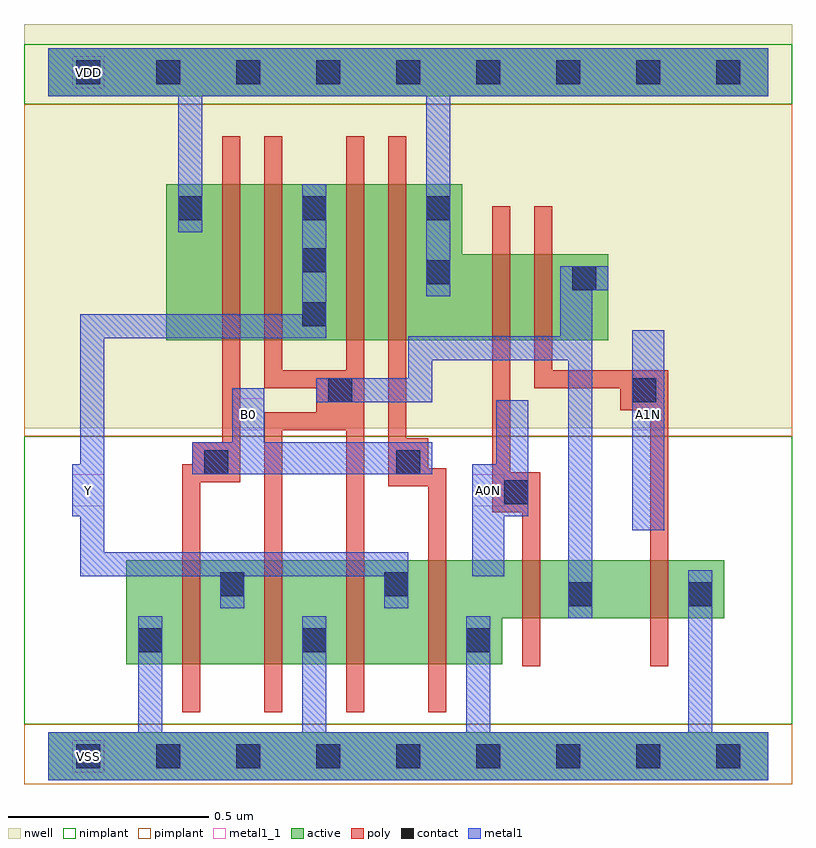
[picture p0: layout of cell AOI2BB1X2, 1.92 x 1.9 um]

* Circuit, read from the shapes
.subckt AOI2BB1X2 A0N A1N B0 VDD VSS Y
M1 Y B0 VSS VSS nfet w=0.26u l=0.045u m=2
M2 VSS n1 Y VSS nfet w=0.26u l=0.045u m=2
M3 n1 A0N VSS VSS nfet w=0.145u l=0.045u
M4 VSS A1N n1 VSS nfet w=0.145u l=0.045u
M5 n2 B0 VDD VDD pfet w=0.39u l=0.045u
M6 Y n1 n2 VDD pfet w=0.39u l=0.045u
M7 n3 n1 Y VDD pfet w=0.39u l=0.045u
M8 VDD B0 n3 VDD pfet w=0.39u l=0.045u
M9 n4 A0N VDD VDD pfet w=0.215u l=0.045u
M10 n1 A1N n4 VDD pfet w=0.215u l=0.045u
.ends

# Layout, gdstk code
import gdstk
lib = gdstk.Library(unit=1e-6, precision=5e-10)
def R(c, l, rs):  # rectangles x0, y0, x1, y1
    for r in rs: c.add(gdstk.rectangle(r[:2], r[2:], *l))
def A(c, l, x, y, w, h, nx, ny, dx, dy):  # array of equal rectangles
    R(c, l, [(x+i*dx, y+j*dy, x+i*dx+w, y+j*dy+h) for i in range(nx) for j in range(ny)])
def P(c, l, *ps):  # polygons
    for p in ps: c.add(gdstk.Polygon(p, *l))
active = (1, 0)
nwell = (2, 0)
poly = (3, 0)
nimplant = (4, 0)
pimplant = (5, 0)
contact = (6, 0)
metal1 = (7, 0)
metal1_1 = (7, 1)

aoi2bb1x2 = lib.new_cell('AOI2BB1X2')
R(aoi2bb1x2, active, [(0,-0.06,1.8,0.06), (0,1.65,1.8,1.77)])
P(aoi2bb1x2, active, [(0.295,1.43),(1.035,1.43),(1.035,1.255),(1.4,1.255),(1.4,1.04),(0.295,1.04)],
  [(0.195,0.49),(1.69,0.49),(1.69,0.345),(1.135,0.345),(1.135,0.23),(0.195,0.23)])
R(aoi2bb1x2, nwell, [(-0.06,0.82,1.86,1.83)])
P(aoi2bb1x2, poly, [(0.435,1.55),(0.48,1.55),(0.48,0.685),(0.38,0.685),(0.38,0.11),(0.335,0.11),(0.335,0.73),(0.36,0.73),(0.36,0.785),(0.435,0.785)],
  [(0.54,1.55),(0.585,1.55),(0.585,0.965),(0.745,0.965),(0.745,1.55),(0.79,1.55),(0.79,0.11),(0.745,0.11),(0.745,0.815),(0.585,0.815),(0.585,0.11),(0.54,0.11),(0.54,0.86),(0.67,0.86),(0.67,0.92),(0.54,0.92)],
  [(0.85,1.55),(0.895,1.55),(0.895,0.795),(0.95,0.795),(0.95,0.72),(0.995,0.72),(0.995,0.11),(0.95,0.11),(0.95,0.675),(0.85,0.675)],
  [(1.11,1.375),(1.155,1.375),(1.155,0.71),(1.23,0.71),(1.23,0.225),(1.185,0.225),(1.185,0.61),(1.11,0.61)],
  [(1.215,1.375),(1.26,1.375),(1.26,0.965),(1.55,0.965),(1.55,0.225),(1.505,0.225),(1.505,0.865),(1.43,0.865),(1.43,0.92),(1.215,0.92)])
R(aoi2bb1x2, nimplant, [(-0.06,0.08,1.86,0.8), (-0.06,1.63,1.86,1.78)])
R(aoi2bb1x2, pimplant, [(-0.06,-0.07,1.86,0.08), (-0.06,0.8,1.86,1.63)])
A(aoi2bb1x2, contact, 0.07, -0.03, 0.06, 0.06, 9, 2, 0.2, 1.71)
A(aoi2bb1x2, contact, 0.225, 0.26, 0.06, 0.06, 3, 1, 0.41, 0)
A(aoi2bb1x2, contact, 0.325, 1.34, 0.06, 0.06, 3, 1, 0.31, 0)
R(aoi2bb1x2, contact, [(1.3,0.375,1.36,0.435), (1.6,0.375,1.66,0.435), (0.43,0.4,0.49,0.46), (0.84,0.4,0.9,0.46), (1.14,0.63,1.2,0.69), (0.39,0.705,0.45,0.765), (0.87,0.705,0.93,0.765), (0.7,0.885,0.76,0.945), (1.46,0.885,1.52,0.945), (0.635,1.075,0.695,1.135), (1.31,1.165,1.37,1.225), (0.945,1.18,1.005,1.24), (0.635,1.21,0.695,1.27)])
R(aoi2bb1x2, metal1, [(1.46,0.565,1.54,1.065)])
P(aoi2bb1x2, metal1, [(0,1.77),(1.8,1.77),(1.8,1.65),(1.005,1.65),(1.005,1.15),(0.945,1.15),(0.945,1.65),(0.385,1.65),(0.385,1.31),(0.325,1.31),(0.325,1.65),(0,1.65)],
  [(0.635,1.43),(0.695,1.43),(0.695,1.045),(0.14,1.045),(0.14,0.51),(0.9,0.51),(0.9,0.37),(0.84,0.37),(0.84,0.45),(0.49,0.45),(0.49,0.37),(0.43,0.37),(0.43,0.45),(0.08,0.45),(0.08,0.6),(0.06,0.6),(0.06,0.73),(0.08,0.73),(0.08,1.105),(0.635,1.105)],
  [(1.28,1.225),(1.4,1.225),(1.4,1.165),(1.36,1.165),(1.36,0.345),(1.3,0.345),(1.3,0.99),(0.96,0.99),(0.96,0.885),(0.67,0.885),(0.67,0.945),(0.9,0.945),(0.9,1.05),(1.28,1.05)],
  [(0.46,0.92),(0.54,0.92),(0.54,0.785),(0.96,0.785),(0.96,0.705),(0.36,0.705),(0.36,0.785),(0.46,0.785)],
  [(1.12,0.89),(1.2,0.89),(1.2,0.6),(1.14,0.6),(1.14,0.45),(1.06,0.45),(1.06,0.73),(1.12,0.73)],
  [(0.225,0.35),(0.285,0.35),(0.285,0.06),(0.635,0.06),(0.635,0.35),(0.695,0.35),(0.695,0.06),(1.045,0.06),(1.045,0.35),(1.105,0.35),(1.105,0.06),(1.6,0.06),(1.6,0.465),(1.66,0.465),(1.66,0.06),(1.8,0.06),(1.8,-0.06),(0,-0.06),(0,0.06),(0.225,0.06)])
R(aoi2bb1x2, metal1_1, [(0.06,-0.04,0.14,0.04), (0.06,0.625,0.14,0.705), (1.06,0.625,1.14,0.705), (0.46,0.815,0.54,0.895), (1.46,0.815,1.54,0.895), (0.06,1.67,0.14,1.75)])
aoi2bb1x2.add(gdstk.Label('Y', (0.1,0.665), layer=7, texttype=1))
aoi2bb1x2.add(gdstk.Label('B0', (0.5,0.855), layer=7, texttype=1))
aoi2bb1x2.add(gdstk.Label('A0N', (1.1,0.665), layer=7, texttype=1))
aoi2bb1x2.add(gdstk.Label('A1N', (1.5,0.855), layer=7, texttype=1))
aoi2bb1x2.add(gdstk.Label('VDD', (0.1,1.71), layer=7, texttype=1))
aoi2bb1x2.add(gdstk.Label('VSS', (0.1,0), layer=7, texttype=1))
aoi2bb1x2.add(gdstk.Label('AOI2BB1X2', (0,0), layer=63, texttype=0))

lib.write_gds('AOI2BB1X2.gds')
